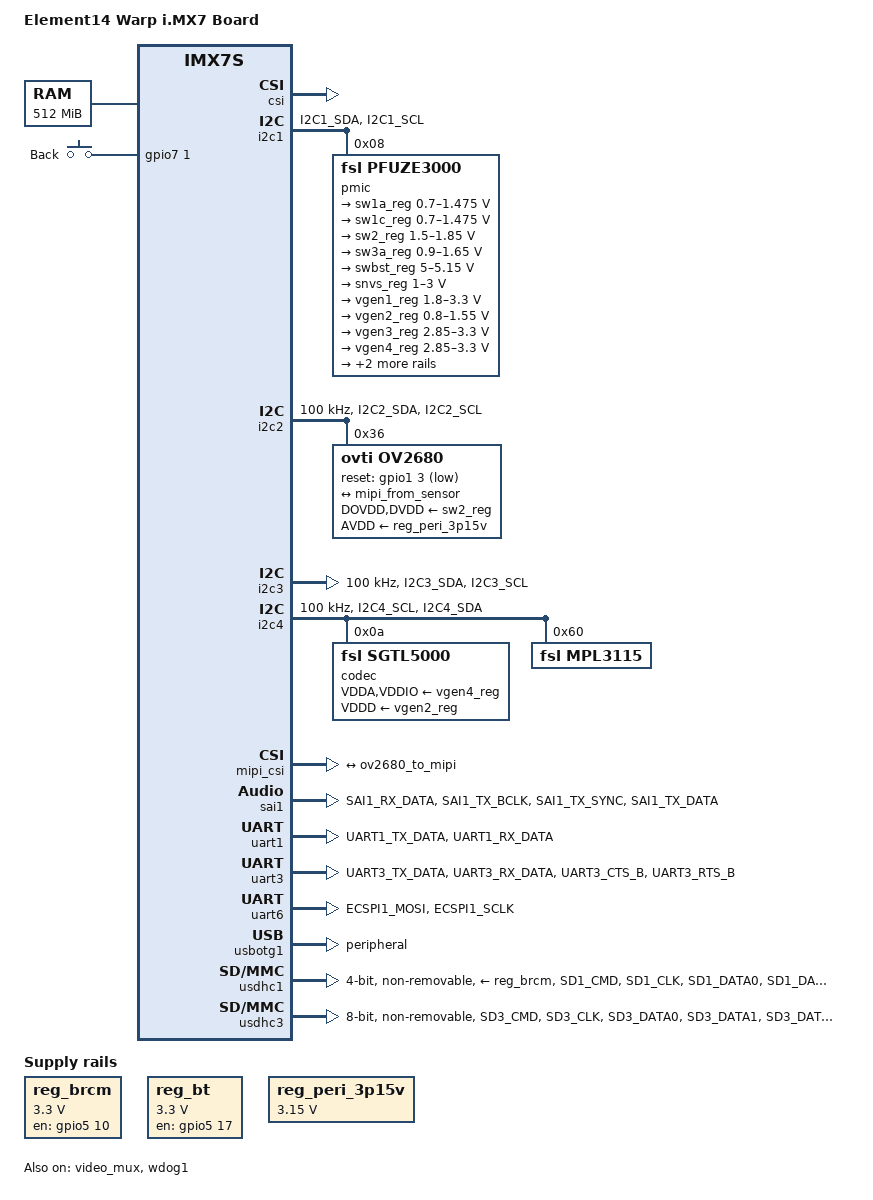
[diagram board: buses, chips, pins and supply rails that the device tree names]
// SPDX-License-Identifier: (GPL-2.0+ OR MIT)
/*
 * Copyright (C) 2016 NXP Semiconductors.
 * Author: Fabio Estevam <fabio.estevam@nxp.com>
 */

/dts-v1/;

#include <dt-bindings/input/input.h>
#include "imx7s.dtsi"

/ {
	model = "Element14 Warp i.MX7 Board";
	compatible = "element14,imx7s-warp", "fsl,imx7s";

	memory@80000000 {
		device_type = "memory";
		reg = <0x80000000 0x20000000>;
	};

	gpio-keys {
		compatible = "gpio-keys";
		pinctrl-0 = <&pinctrl_gpio>;
		autorepeat;

		back {
			label = "Back";
			gpios = <&gpio7 1 GPIO_ACTIVE_HIGH>;
			linux,code = <KEY_BACK>;
			wakeup-source;
		};
	};

	reg_brcm: regulator-brcm {
		compatible = "regulator-fixed";
		enable-active-high;
		gpio = <&gpio5 10 GPIO_ACTIVE_HIGH>;
		pinctrl-names = "default";
		pinctrl-0 = <&pinctrl_brcm_reg>;
		regulator-name = "brcm_reg";
		regulator-min-microvolt = <3300000>;
		regulator-max-microvolt = <3300000>;
		startup-delay-us = <200000>;
	};

	reg_bt: regulator-bt {
		compatible = "regulator-fixed";
		pinctrl-names = "default";
		pinctrl-0 = <&pinctrl_bt_reg>;
		enable-active-high;
		gpio = <&gpio5 17 GPIO_ACTIVE_HIGH>;
		regulator-name = "bt_reg";
		regulator-min-microvolt = <3300000>;
		regulator-max-microvolt = <3300000>;
		regulator-always-on;
	};

	reg_peri_3p15v: regulator-peri-3p15v {
		compatible = "regulator-fixed";
		regulator-name = "peri_3p15v_reg";
		regulator-min-microvolt = <3150000>;
		regulator-max-microvolt = <3150000>;
		regulator-always-on;
	};

	sound {
		compatible = "simple-audio-card";
		simple-audio-card,name = "imx7-sgtl5000";
		simple-audio-card,format = "i2s";
		simple-audio-card,bitclock-master = <&dailink_master>;
		simple-audio-card,frame-master = <&dailink_master>;
		simple-audio-card,cpu {
			sound-dai = <&sai1>;
		};

		dailink_master: simple-audio-card,codec {
			sound-dai = <&codec>;
			clocks = <&clks IMX7D_AUDIO_MCLK_ROOT_DIV>;
		};
	};
};

&clks {
	assigned-clocks = <&clks IMX7D_PLL_AUDIO_POST_DIV>;
	assigned-clock-rates = <884736000>;
};

&csi {
	status = "okay";
};

&i2c1 {
	pinctrl-names = "default";
	pinctrl-0 = <&pinctrl_i2c1>;
	status = "okay";

	pmic: pfuze3000@8 {
		compatible = "fsl,pfuze3000";
		reg = <0x08>;

		regulators {
			sw1a_reg: sw1a {
				regulator-min-microvolt = <700000>;
				regulator-max-microvolt = <1475000>;
				regulator-boot-on;
				regulator-always-on;
				regulator-ramp-delay = <6250>;
			};

			/* use sw1c_reg to align with pfuze100/pfuze200 */
			sw1c_reg: sw1b {
				regulator-min-microvolt = <700000>;
				regulator-max-microvolt = <1475000>;
				regulator-boot-on;
				regulator-always-on;
				regulator-ramp-delay = <6250>;
			};

			sw2_reg: sw2 {
				regulator-min-microvolt = <1500000>;
				regulator-max-microvolt = <1850000>;
				regulator-boot-on;
				regulator-always-on;
			};

			sw3a_reg: sw3 {
				regulator-min-microvolt = <900000>;
				regulator-max-microvolt = <1650000>;
				regulator-boot-on;
				regulator-always-on;
			};

			swbst_reg: swbst {
				regulator-min-microvolt = <5000000>;
				regulator-max-microvolt = <5150000>;
				regulator-boot-on;
				regulator-always-on;
			};

			snvs_reg: vsnvs {
				regulator-min-microvolt = <1000000>;
				regulator-max-microvolt = <3000000>;
				regulator-boot-on;
				regulator-always-on;
			};

			vref_reg: vrefddr {
				regulator-boot-on;
				regulator-always-on;
			};

			vgen1_reg: vldo1 {
				regulator-min-microvolt = <1800000>;
				regulator-max-microvolt = <3300000>;
				regulator-always-on;
			};

			vgen2_reg: vldo2 {
				regulator-min-microvolt = <800000>;
				regulator-max-microvolt = <1550000>;
			};

			vgen3_reg: vccsd {
				regulator-min-microvolt = <2850000>;
				regulator-max-microvolt = <3300000>;
				regulator-always-on;
			};

			vgen4_reg: v33 {
				regulator-min-microvolt = <2850000>;
				regulator-max-microvolt = <3300000>;
				regulator-always-on;
			};

			vgen5_reg: vldo3 {
				regulator-min-microvolt = <1800000>;
				regulator-max-microvolt = <3300000>;
				regulator-always-on;
			};

			vgen6_reg: vldo4 {
				regulator-min-microvolt = <1800000>;
				regulator-max-microvolt = <3300000>;
				regulator-always-on;
			};
		};
	};
};

&i2c2 {
	clock-frequency = <100000>;
	pinctrl-names = "default";
	pinctrl-0 = <&pinctrl_i2c2>;
	status = "okay";

	ov2680: camera@36 {
		compatible = "ovti,ov2680";
		pinctrl-names = "default";
		pinctrl-0 = <&pinctrl_ov2680>;
		reg = <0x36>;
		clocks = <&osc>;
		clock-names = "xvclk";
		reset-gpios = <&gpio1 3 GPIO_ACTIVE_LOW>;
		DOVDD-supply = <&sw2_reg>;
		DVDD-supply = <&sw2_reg>;
		AVDD-supply = <&reg_peri_3p15v>;

		port {
			ov2680_to_mipi: endpoint {
				remote-endpoint = <&mipi_from_sensor>;
				clock-lanes = <0>;
				data-lanes = <1>;
			};
		};
	};
};

&i2c3 {
	clock-frequency = <100000>;
	pinctrl-names = "default";
	pinctrl-0 = <&pinctrl_i2c3>;
	status = "okay";
};

&i2c4 {
	clock-frequency = <100000>;
	pinctrl-names = "default";
	pinctrl-0 = <&pinctrl_i2c4>;
	status = "okay";

	codec: sgtl5000@a {
		#sound-dai-cells = <0>;
		reg = <0x0a>;
		compatible = "fsl,sgtl5000";
		clocks = <&clks IMX7D_AUDIO_MCLK_ROOT_DIV>;
		pinctrl-names = "default";
		pinctrl-0 = <&pinctrl_sai1_mclk>;
		VDDA-supply = <&vgen4_reg>;
		VDDIO-supply = <&vgen4_reg>;
		VDDD-supply = <&vgen2_reg>;
	};

	mpl3115@60 {
		compatible = "fsl,mpl3115";
		reg = <0x60>;
	};
};

&mipi_csi {
	clock-frequency = <166000000>;
	fsl,csis-hs-settle = <3>;
	status = "okay";

	port@0 {
		reg = <0>;

		mipi_from_sensor: endpoint {
			remote-endpoint = <&ov2680_to_mipi>;
			data-lanes = <1>;
		};

	};
};

&sai1 {
	pinctrl-names = "default";
	pinctrl-0 = <&pinctrl_sai1>;
	assigned-clocks = <&clks IMX7D_SAI1_ROOT_SRC>,
			  <&clks IMX7D_SAI1_ROOT_CLK>;
	assigned-clock-parents = <&clks IMX7D_PLL_AUDIO_POST_DIV>;
	assigned-clock-rates = <0>, <36864000>;
	status = "okay";
};

&uart1 {
	pinctrl-names = "default";
	pinctrl-0 = <&pinctrl_uart1>;
	assigned-clocks = <&clks IMX7D_UART1_ROOT_SRC>;
	assigned-clock-parents = <&clks IMX7D_PLL_SYS_MAIN_240M_CLK>;
	status = "okay";
};

&uart3  {
	pinctrl-names = "default";
	pinctrl-0 = <&pinctrl_uart3>;
	assigned-clocks = <&clks IMX7D_UART3_ROOT_SRC>;
	assigned-clock-parents = <&clks IMX7D_PLL_SYS_MAIN_240M_CLK>;
	uart-has-rtscts;
	status = "okay";
};

&uart6 {
	pinctrl-names = "default";
	pinctrl-0 = <&pinctrl_uart6>;
	assigned-clocks = <&clks IMX7D_UART6_ROOT_SRC>;
	assigned-clock-parents = <&clks IMX7D_PLL_SYS_MAIN_240M_CLK>;
	fsl,dte-mode;
	status = "okay";
};

&usbotg1 {
	dr_mode = "peripheral";
	status = "okay";
};

&usdhc1 {
	pinctrl-names = "default";
	pinctrl-0 = <&pinctrl_usdhc1>;
	bus-width = <4>;
	keep-power-in-suspend;
	no-1-8-v;
	non-removable;
	vmmc-supply = <&reg_brcm>;
	status = "okay";
};

&usdhc3 {
	pinctrl-names = "default", "state_100mhz", "state_200mhz";
	pinctrl-0 = <&pinctrl_usdhc3>;
	pinctrl-1 = <&pinctrl_usdhc3_100mhz>;
	pinctrl-2 = <&pinctrl_usdhc3_200mhz>;
	assigned-clocks = <&clks IMX7D_USDHC3_ROOT_CLK>;
	assigned-clock-rates = <400000000>;
	bus-width = <8>;
	no-1-8-v;
	fsl,tuning-step = <2>;
	non-removable;
	status = "okay";
};

&video_mux {
	status = "okay";
};

&wdog1 {
	pinctrl-names = "default";
	pinctrl-0 = <&pinctrl_wdog>;
	fsl,ext-reset-output;
	status = "okay";
};

&iomuxc {
	pinctrl_brcm_reg: brcmreggrp {
		fsl,pins = <
			MX7D_PAD_SD2_WP__GPIO5_IO10	0x14 /* WL_REG_ON */
		>;
	};

	pinctrl_bt_reg: btreggrp {
		fsl,pins = <
			MX7D_PAD_SD2_DATA3__GPIO5_IO17	0x14 /* BT_REG_ON */
		>;
	};

	pinctrl_gpio: gpiogrp {
		fsl,pins = <
			MX7D_PAD_ENET1_RGMII_RD1__GPIO7_IO1	0x14
		>;
	};

	pinctrl_i2c1: i2c1grp {
		fsl,pins = <
			MX7D_PAD_I2C1_SDA__I2C1_SDA		0x4000007f
			MX7D_PAD_I2C1_SCL__I2C1_SCL		0x4000007f
		>;
	};

	pinctrl_i2c2: i2c2grp {
		fsl,pins = <
			MX7D_PAD_I2C2_SDA__I2C2_SDA	0x4000007f
			MX7D_PAD_I2C2_SCL__I2C2_SCL	0x4000007f
		>;
	};

	pinctrl_i2c3: i2c3grp {
		fsl,pins = <
			MX7D_PAD_I2C3_SDA__I2C3_SDA	0x4000007f
			MX7D_PAD_I2C3_SCL__I2C3_SCL	0x4000007f
		>;
	};

	pinctrl_i2c4: i2c4grp {
		fsl,pins = <
			MX7D_PAD_I2C4_SCL__I2C4_SCL	0x4000007f
			MX7D_PAD_I2C4_SDA__I2C4_SDA	0x4000007f
		>;
	};

	pinctrl_ov2680: ov2660grp {
		fsl,pins = <
			MX7D_PAD_LPSR_GPIO1_IO03__GPIO1_IO3	0x14
		>;
	};

	pinctrl_sai1: sai1grp {
		fsl,pins = <
			MX7D_PAD_SAI1_RX_DATA__SAI1_RX_DATA0	0x1f
			MX7D_PAD_SAI1_TX_BCLK__SAI1_TX_BCLK	0x1f
			MX7D_PAD_SAI1_TX_SYNC__SAI1_TX_SYNC	0x1f
			MX7D_PAD_SAI1_TX_DATA__SAI1_TX_DATA0	0x30
		>;
	};

	pinctrl_sai1_mclk: sai1mclkgrp {
		fsl,pins = <
			MX7D_PAD_SAI1_MCLK__SAI1_MCLK           0x1f
		>;
	};

	pinctrl_uart1: uart1grp {
		fsl,pins = <
			MX7D_PAD_UART1_TX_DATA__UART1_DCE_TX	0x79
			MX7D_PAD_UART1_RX_DATA__UART1_DCE_RX	0x79
		>;
	};

	pinctrl_uart3: uart3grp {
		fsl,pins = <
			MX7D_PAD_UART3_TX_DATA__UART3_DCE_TX	0x79
			MX7D_PAD_UART3_RX_DATA__UART3_DCE_RX	0x79
			MX7D_PAD_UART3_CTS_B__UART3_DCE_CTS	0x79
			MX7D_PAD_UART3_RTS_B__UART3_DCE_RTS	0x79
		>;
	};

	pinctrl_uart6: uart6grp {
		fsl,pins = <
			MX7D_PAD_ECSPI1_MOSI__UART6_DTE_RX	0x79
			MX7D_PAD_ECSPI1_SCLK__UART6_DTE_TX	0x79
		>;
	};

	pinctrl_usdhc1: usdhc1grp {
		fsl,pins = <
			MX7D_PAD_SD1_CMD__SD1_CMD	0x59
			MX7D_PAD_SD1_CLK__SD1_CLK	0x19
			MX7D_PAD_SD1_DATA0__SD1_DATA0	0x59
			MX7D_PAD_SD1_DATA1__SD1_DATA1	0x59
			MX7D_PAD_SD1_DATA2__SD1_DATA2	0x59
			MX7D_PAD_SD1_DATA3__SD1_DATA3	0x59
			MX7D_PAD_SD2_RESET_B__GPIO5_IO11 0x14 /* WL_HOST_WAKE */
		>;
	};

	pinctrl_usdhc3: usdhc3grp {
		fsl,pins = <
			MX7D_PAD_SD3_CMD__SD3_CMD		0x59
			MX7D_PAD_SD3_CLK__SD3_CLK		0x19
			MX7D_PAD_SD3_DATA0__SD3_DATA0		0x59
			MX7D_PAD_SD3_DATA1__SD3_DATA1		0x59
			MX7D_PAD_SD3_DATA2__SD3_DATA2		0x59
			MX7D_PAD_SD3_DATA3__SD3_DATA3		0x59
			MX7D_PAD_SD3_DATA4__SD3_DATA4		0x59
			MX7D_PAD_SD3_DATA5__SD3_DATA5		0x59
			MX7D_PAD_SD3_DATA6__SD3_DATA6		0x59
			MX7D_PAD_SD3_DATA7__SD3_DATA7		0x59
			MX7D_PAD_SD3_RESET_B__SD3_RESET_B	0x19
		>;
	};

	pinctrl_usdhc3_100mhz: usdhc3grp_100mhz {
		fsl,pins = <
			MX7D_PAD_SD3_CMD__SD3_CMD		0x5a
			MX7D_PAD_SD3_CLK__SD3_CLK		0x1a
			MX7D_PAD_SD3_DATA0__SD3_DATA0		0x5a
			MX7D_PAD_SD3_DATA1__SD3_DATA1		0x5a
			MX7D_PAD_SD3_DATA2__SD3_DATA2		0x5a
			MX7D_PAD_SD3_DATA3__SD3_DATA3		0x5a
			MX7D_PAD_SD3_DATA4__SD3_DATA4		0x5a
			MX7D_PAD_SD3_DATA5__SD3_DATA5		0x5a
			MX7D_PAD_SD3_DATA6__SD3_DATA6		0x5a
			MX7D_PAD_SD3_DATA7__SD3_DATA7		0x5a
			MX7D_PAD_SD3_RESET_B__SD3_RESET_B	0x1a
		>;
	};

	pinctrl_usdhc3_200mhz: usdhc3grp_200mhz {
		fsl,pins = <
			MX7D_PAD_SD3_CMD__SD3_CMD		0x5b
			MX7D_PAD_SD3_CLK__SD3_CLK		0x1b
			MX7D_PAD_SD3_DATA0__SD3_DATA0		0x5b
			MX7D_PAD_SD3_DATA1__SD3_DATA1		0x5b
			MX7D_PAD_SD3_DATA2__SD3_DATA2		0x5b
			MX7D_PAD_SD3_DATA3__SD3_DATA3		0x5b
			MX7D_PAD_SD3_DATA4__SD3_DATA4		0x5b
			MX7D_PAD_SD3_DATA5__SD3_DATA5		0x5b
			MX7D_PAD_SD3_DATA6__SD3_DATA6		0x5b
			MX7D_PAD_SD3_DATA7__SD3_DATA7		0x5b
			MX7D_PAD_SD3_RESET_B__SD3_RESET_B	0x1b
		>;
	};
};

&iomuxc_lpsr {
	pinctrl_wdog: wdoggrp {
		fsl,pins = <
			MX7D_PAD_LPSR_GPIO1_IO00__WDOG1_WDOG_B	0x74
		>;
	};
};
